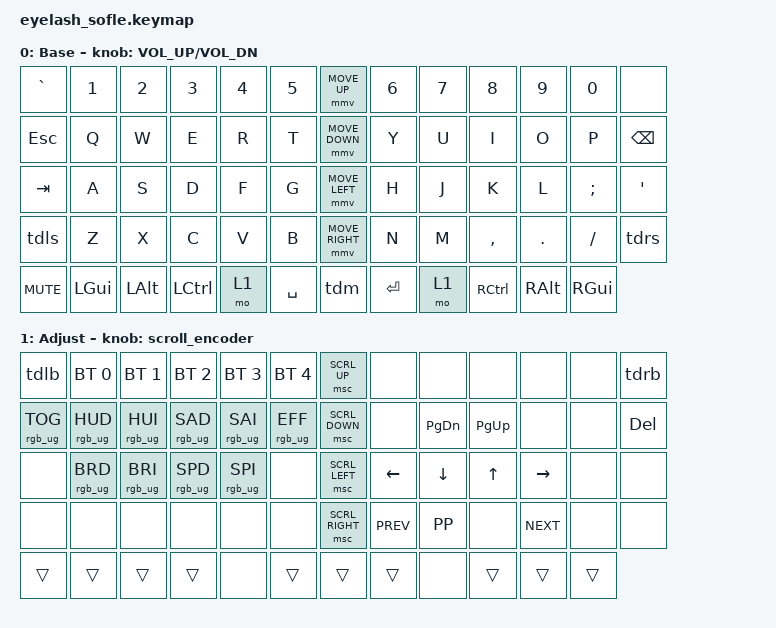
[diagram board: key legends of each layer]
#define ZMK_POINTING_DEFAULT_MOVE_VAL 1200  // 600
#define ZMK_POINTING_DEFAULT_SCRL_VAL 25   // 10

#include <input/processors.dtsi>
#include <zephyr/dt-bindings/input/input-event-codes.h>
#include <behaviors.dtsi>
#include <dt-bindings/zmk/bt.h>
#include <dt-bindings/zmk/keys.h>
#include <dt-bindings/zmk/outputs.h>
#include <dt-bindings/zmk/pointing.h>
#include <dt-bindings/zmk/rgb.h>

#define BASE 0
#define LOWER 1
#define RAISE 2
#define ADJUST 3

&mmv_input_listener { input-processors = <&zip_xy_scaler 2 1>; };

&msc_input_listener { input-processors = <&zip_scroll_scaler 2 1>; };

&msc {
    acceleration-exponent = <1>;      // 0
    time-to-max-speed-ms = <100>;       // 300
    delay-ms = <0>;                   // 0
};

&mmv {
    time-to-max-speed-ms = <500>;
    acceleration-exponent = <1>;
    trigger-period-ms = <16>;
};

/ {
    // Activate ADJUST layer by pressing raise and lower

    conditional_layers { compatible = "zmk,conditional-layers"; };

    scroll_encoder: scroll_encoder {
        compatible = "zmk,behavior-sensor-rotate";
        #sensor-binding-cells = <0>;
        bindings = <&msc SCRL_DOWN>, <&msc SCRL_UP>;

        tap-ms = <100>;
    };

    skq: sticky_key_quick_release {
        compatible = "zmk,behavior-sticky-key";
        bindings = <&kp>;
        #binding-cells = <1>;
        quick-release;
        release-after-ms = <1000>;
        label = "Sticky key quick release";
    };

    slq: sticky_layer_quick_release {
        compatible = "zmk,behavior-sticky-key";
        label = "Sticky layer quick release";
        bindings = <&mo>;
        #binding-cells = <1>;
        release-after-ms = <1000>;
        quick-release;
    };

    tdls: tap_dance_left_shift {
        compatible = "zmk,behavior-tap-dance";
        label = "LShift / Capsword";
        #binding-cells = <0>;
        bindings = <&skq LSHFT>, <&caps_word>;
    };

    tdrs: tap_dance_right_shift {
        compatible = "zmk,behavior-tap-dance";
        label = "RShift / Capsword";
        #binding-cells = <0>;
        bindings = <&skq RSHFT>, <&caps_word>;
    };

    tdm: tap_dance_mouse {
        compatible = "zmk,behavior-tap-dance";
        label = "Tap dance mouse keys";
        #binding-cells = <0>;
        bindings = <&mkp LCLK>, <&mkp RCLK>, <&mkp MCLK>;
    };

    tdrb: tap_dance_rboot {
        compatible = "zmk,behavior-tap-dance";
        label = "Tap dance right bootloader";
        #binding-cells = <0>;
        bindings = <&out OUT_TOG>, <&bootloader>;
    };

    tdlb: tap_dance_lboot {
        compatible = "zmk,behavior-tap-dance";
        label = "Tap dance left bootloader";
        #binding-cells = <0>;
        bindings = <&bt BT_CLR>, <&bootloader>;
    };

    bt_hold: bt_hold {
        compatible = "zmk,behavior-hold-tap";
        label = "Bluetooth hold";
        bindings = <&bt>, <&bt>;

        #binding-cells = <2>;
        tapping-term-ms = <1000>;
    };

    behaviors {
    };

    combos {
        compatible = "zmk,combos";

        combo_F1 {
            bindings = <&kp F1>;
            key-positions = <14 1>;
            layers = <0>;
        };

        combo_F2 {
            bindings = <&kp F2>;
            key-positions = <2 15>;
            layers = <0>;
        };

        combo_F3 {
            bindings = <&kp F3>;
            key-positions = <3 16>;
            layers = <0>;
        };

        combo_F4 {
            bindings = <&kp F4>;
            key-positions = <17 4>;
            layers = <0>;
        };

        combo_F5 {
            bindings = <&kp F5>;
            key-positions = <18 5>;
            layers = <0>;
        };

        combo_F6 {
            bindings = <&kp F6>;
            key-positions = <20 7>;
            layers = <0>;
        };

        combo_F7 {
            bindings = <&kp F7>;
            key-positions = <8 21>;
            layers = <0>;
        };

        combo_F8 {
            bindings = <&kp F8>;
            key-positions = <22 9>;
            layers = <0>;
        };

        combo_F9 {
            bindings = <&kp F9>;
            key-positions = <10 23>;
            layers = <0>;
        };

        combo_F10 {
            bindings = <&kp F10>;
            key-positions = <24 11>;
            layers = <0>;
        };

        combo_F11 {
            bindings = <&kp F11>;
            key-positions = <25 12>;
            layers = <0>;
        };

        combo_F12 {
            bindings = <&kp F12>;
            key-positions = <25 38>;
            layers = <0>;
        };

        combo_EXCL {
            bindings = <&kp EXCL>;
            key-positions = <27 14>;
            layers = <0>;
        };

        combo_AT {
            bindings = <&kp AT>;
            key-positions = <28 15>;
            layers = <0>;
        };

        combo_HASH {
            bindings = <&kp HASH>;
            key-positions = <29 16>;
            layers = <0>;
        };

        combo_DLLR {
            bindings = <&kp DLLR>;
            key-positions = <30 17>;
            layers = <0>;
        };

        combo_PRCNT {
            bindings = <&kp PRCNT>;
            key-positions = <31 18>;
            layers = <0>;
        };

        combo_CARET {
            bindings = <&kp CARET>;
            key-positions = <33 20>;
            layers = <0>;
        };

        combo_AMPS {
            bindings = <&kp AMPS>;
            key-positions = <34 21>;
            layers = <0>;
        };

        combo_ASTRK {
            bindings = <&kp ASTRK>;
            key-positions = <35 22>;
            layers = <0>;
        };

        combo_LPAR {
            bindings = <&kp LPAR>;
            key-positions = <36 23>;
            layers = <0>;
        };

        combo_RPAR {
            bindings = <&kp RPAR>;
            key-positions = <37 24>;
            layers = <0>;
        };

        combo_EQ {
            bindings = <&kp EQUAL>;
            key-positions = <27 40>;
            layers = <0>;
        };

        combo_MINUS {
            bindings = <&kp MINUS>;
            key-positions = <28 41>;
            layers = <0>;
        };

        combo_PLUS {
            bindings = <&kp PLUS>;
            key-positions = <29 42>;
            layers = <0>;
        };

        combo_BSLH {
            bindings = <&kp BSLH>;
            key-positions = <30 43>;
            layers = <0>;
        };

        combo_TILDE {
            bindings = <&kp TILDE>;
            key-positions = <44 31>;
            layers = <0>;
        };

        combo_UNDER {
            bindings = <&kp UNDER>;
            key-positions = <33 46>;
            layers = <0>;
        };

        combo_PIPE {
            bindings = <&kp PIPE>;
            key-positions = <34 47>;
            layers = <0>;
        };

        combo_SLASH {
            bindings = <&kp SLASH>;
            key-positions = <35 48>;
            layers = <0>;
        };

        combo_LT {
            bindings = <&kp LT>;
            key-positions = <30 31>;
            layers = <0>;
        };

        combo_GT {
            bindings = <&kp GT>;
            key-positions = <34 33>;
            layers = <0>;
        };

        combo_LPAR2 {
            bindings = <&kp LPAR>;
            key-positions = <30 29>;
            layers = <0>;
        };

        combo_RPAR2 {
            bindings = <&kp RPAR>;
            key-positions = <34 35>;
            layers = <0>;
        };

        combo_LBRC {
            bindings = <&kp LBRC>;
            key-positions = <28 29>;
            layers = <0>;
        };

        combo_RBRC {
            bindings = <&kp RBRC>;
            key-positions = <35 36>;
            layers = <0>;
        };

        combo_LBKT {
            bindings = <&kp LBKT>;
            key-positions = <28 27>;
            layers = <0>;
        };

        combo_RBKT {
            bindings = <&kp RBKT>;
            key-positions = <36 37>;
            layers = <0>;
        };

        combo_1 {
            bindings = <&kp N1>;
            key-positions = <13 14>;
            layers = <0>;
        };

        combo_2 {
            bindings = <&kp N2>;
            key-positions = <14 15>;
            layers = <0>;
        };

        combo_3 {
            bindings = <&kp N3>;
            key-positions = <15 16>;
            layers = <0>;
        };

        combo_4 {
            bindings = <&kp N4>;
            key-positions = <16 17>;
            layers = <0>;
        };

        combo_5 {
            bindings = <&kp N5>;
            key-positions = <17 18>;
            layers = <0>;
        };

        combo_6 {
            bindings = <&kp N6>;
            key-positions = <20 21>;
            layers = <0>;
        };

        combo_7 {
            bindings = <&kp N7>;
            key-positions = <21 22>;
            layers = <0>;
        };

        combo_8 {
            bindings = <&kp N8>;
            key-positions = <22 23>;
            layers = <0>;
        };

        combo_9 {
            bindings = <&kp N9>;
            key-positions = <23 24>;
            layers = <0>;
        };

        combo_0 {
            bindings = <&kp N0>;
            key-positions = <24 25>;
            layers = <0>;
        };
    };

    keymap {
        compatible = "zmk,keymap";

        default_layer {
            display-name = "Base";
            bindings = <
&kp GRAVE   &kp N1    &kp N2    &kp N3     &kp N4  &kp N5       &mmv MOVE_UP     &kp N6     &kp N7  &kp N8     &kp N9    &kp N0    &none
&kp ESC     &kp Q     &kp W     &kp E      &kp R   &kp T        &mmv MOVE_DOWN   &kp Y      &kp U   &kp I      &kp O     &kp P     &kp BSPC
&kp TAB     &kp A     &kp S     &kp D      &kp F   &kp G        &mmv MOVE_LEFT   &kp H      &kp J   &kp K      &kp L     &kp SEMI  &kp SQT
&tdls       &kp Z     &kp X     &kp C      &kp V   &kp B        &mmv MOVE_RIGHT  &kp N      &kp M   &kp COMMA  &kp DOT   &kp FSLH  &tdrs
&kp C_MUTE  &kp LGUI  &kp LALT  &kp LCTRL  &mo 1   &kp SPACE    &tdm             &kp ENTER  &mo 1   &kp RCTRL  &kp RALT  &kp RGUI
            >;

            sensor-bindings = <&inc_dec_kp C_VOLUME_UP C_VOL_DN>;
        };

        adjust_layer {
            display-name = "Adjust";
            bindings = <
&tdlb            &bt BT_SEL 0     &bt BT_SEL 1     &bt BT_SEL 2     &bt BT_SEL 3     &bt BT_SEL 4       &msc SCRL_UP     &none       &none      &none      &none       &none   &tdrb
&rgb_ug RGB_TOG  &rgb_ug RGB_HUD  &rgb_ug RGB_HUI  &rgb_ug RGB_SAD  &rgb_ug RGB_SAI  &rgb_ug RGB_EFF    &msc SCRL_DOWN   &none       &kp PG_DN  &kp PG_UP  &none       &none   &kp DELETE
&none            &rgb_ug RGB_BRD  &rgb_ug RGB_BRI  &rgb_ug RGB_SPD  &rgb_ug RGB_SPI  &none              &msc SCRL_LEFT   &kp LEFT    &kp DOWN   &kp UP     &kp RIGHT   &none   &none
&none            &none            &none            &none            &none            &none              &msc SCRL_RIGHT  &kp K_PREV  &kp K_PP   &none      &kp K_NEXT  &none   &none
&trans           &trans           &trans           &trans           &none            &trans             &trans           &trans      &none      &trans     &trans      &trans
            >;

            sensor-bindings = <&scroll_encoder>;
        };
    };
};
